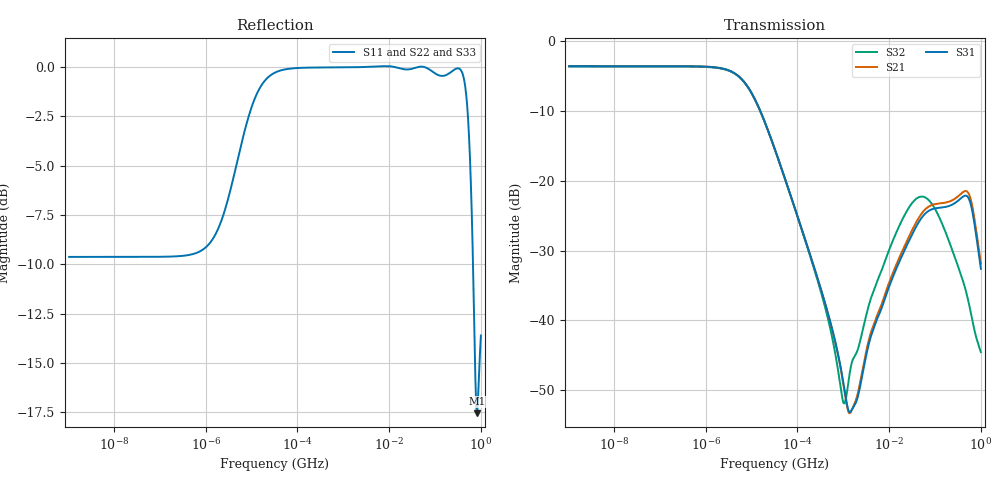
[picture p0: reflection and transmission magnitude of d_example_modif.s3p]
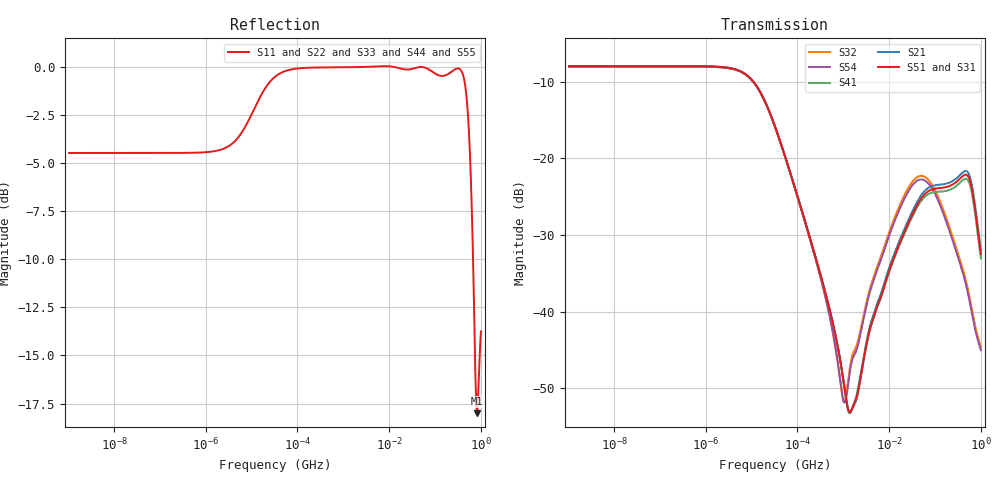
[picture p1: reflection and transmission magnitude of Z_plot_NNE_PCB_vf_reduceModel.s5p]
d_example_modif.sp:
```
*** LIN ***
.ac POI 451
+            0      1.04713      1.09648      1.14815      1.20226      1.25893      1.31826      1.38038      1.44544      1.51356 
+      1.58489      1.65959       1.7378       1.8197      1.90546      1.99526       2.0893      2.18776      2.29087      2.39883 
+      2.51189      2.63027      2.75423      2.88403      3.01995      3.16228      3.31131      3.46737      3.63078      3.80189 
+      3.98107      4.16869      4.36516      4.57088       4.7863      5.01187      5.24807      5.49541       5.7544       6.0256 
+      6.30957      6.60693      6.91831      7.24436      7.58578      7.94328      8.31764      8.70964      9.12011      9.54993 
+           10      10.4713      10.9648      11.4815      12.0226      12.5893      13.1826      13.8038      14.4544      15.1356 
+      15.8489      16.5959       17.378       18.197      19.0546      19.9526       20.893      21.8776      22.9087      23.9883 
+      25.1189      26.3027      27.5423      28.8403      30.1995      31.6228      33.1131      34.6737      36.3078      38.0189 
+      39.8107      41.6869      43.6516      45.7088       47.863      50.1187      52.4807      54.9541       57.544       60.256 
+      63.0957      66.0693      69.1831      72.4436      75.8578      79.4328      83.1764      87.0964      91.2011      95.4993 
+          100      104.713      109.648      114.815      120.226      125.893      131.826      138.038      144.544      151.356 
+      158.489      165.959       173.78       181.97      190.546      199.526       208.93      218.776      229.087      239.883 
+      251.189      263.027      275.423      288.403      301.995      316.228      331.131      346.737      363.078      380.189 
+      398.107      416.869      436.516      457.088       478.63      501.187      524.807      549.541       575.44       602.56 
+      630.957      660.693      691.831      724.436      758.578      794.328      831.764      870.964      912.011      954.993 
+         1000      1047.13      1096.48      1148.15      1202.26      1258.93      1318.26      1380.38      1445.44      1513.56 
+      1584.89      1659.59       1737.8       1819.7      1905.46      1995.26       2089.3      2187.76      2290.87      2398.83 
+      2511.89      2630.27      2754.23      2884.03      3019.95      3162.28      3311.31      3467.37      3630.78      3801.89 
+      3981.07      4168.69      4365.16      4570.88       4786.3      5011.87      5248.07      5495.41       5754.4       6025.6 
+      6309.57      6606.93      6918.31      7244.36      7585.78      7943.28      8317.64      8709.64      9120.11      9549.93 
+        10000      10471.3      10964.8      11481.5      12022.6      12589.3      13182.6      13803.8      14454.4      15135.6 
+      15848.9      16595.9        17378        18197      19054.6      19952.6        20893      21877.6      22908.7      23988.3 
+      25118.9      26302.7      27542.3      28840.3      30199.5      31622.8      33113.1      34673.7      36307.8      38018.9 
+      39810.7      41686.9      43651.6      45708.8        47863      50118.7      52480.7      54954.1        57544        60256 
+      63095.7      66069.3      69183.1      72443.6      75857.8      79432.8      83176.4      87096.4      91201.1      95499.3 
+       100000       104713       109648       114815       120226       125893       131826       138038       144544       151356 
+       158489       165959       173780       181970       190546       199526       208930       218776       229087       239883 
+       251189       263027       275423       288403       301995       316228       331131       346737       363078       380189 
+       398107       416869       436516       457088       478630       501187       524807       549541       575440       602560 
+       630957       660693       691831       724436       758578       794328       831764       870964       912011       954993 
+        1e+06  1.04713e+06  1.09648e+06  1.14815e+06  1.20226e+06  1.25893e+06  1.31826e+06  1.38038e+06  1.44544e+06  1.51356e+06 
+  1.58489e+06  1.65959e+06   1.7378e+06   1.8197e+06  1.90546e+06  1.99526e+06   2.0893e+06  2.18776e+06  2.29087e+06  2.39883e+06 
+  2.51189e+06  2.63027e+06  2.75423e+06  2.88403e+06  3.01995e+06  3.16228e+06  3.31131e+06  3.46737e+06  3.63078e+06  3.80189e+06 
+  3.98107e+06  4.16869e+06  4.36516e+06  4.57088e+06   4.7863e+06  5.01187e+06  5.24807e+06  5.49541e+06   5.7544e+06   6.0256e+06 
+  6.30957e+06  6.60693e+06  6.91831e+06  7.24436e+06  7.58578e+06  7.94328e+06  8.31764e+06  8.70964e+06  9.12011e+06  9.54993e+06 
+        1e+07  1.04713e+07  1.09648e+07  1.14815e+07  1.20226e+07  1.25893e+07  1.31826e+07  1.38038e+07  1.44544e+07  1.51356e+07 
+  1.58489e+07  1.65959e+07   1.7378e+07   1.8197e+07  1.90546e+07  1.99526e+07   2.0893e+07  2.18776e+07  2.29087e+07  2.39883e+07 
+  2.51189e+07  2.63027e+07  2.75423e+07  2.88403e+07  3.01995e+07  3.16228e+07  3.31131e+07  3.46737e+07  3.63078e+07  3.80189e+07 
+  3.98107e+07  4.16869e+07  4.36516e+07  4.57088e+07   4.7863e+07  5.01187e+07  5.24807e+07  5.49541e+07   5.7544e+07   6.0256e+07 
+  6.30957e+07  6.60693e+07  6.91831e+07  7.24436e+07  7.58578e+07  7.94328e+07  8.31764e+07  8.70964e+07  9.12011e+07  9.54993e+07 
+        1e+08  1.04713e+08  1.09648e+08  1.14815e+08  1.20226e+08  1.25893e+08  1.31826e+08  1.38038e+08  1.44544e+08  1.51356e+08 
+  1.58489e+08  1.65959e+08   1.7378e+08   1.8197e+08  1.90546e+08  1.99526e+08   2.0893e+08  2.18776e+08  2.29087e+08  2.39883e+08 
+  2.51189e+08  2.63027e+08  2.75423e+08  2.88403e+08  3.01995e+08  3.16228e+08  3.31131e+08  3.46737e+08  3.63078e+08  3.80189e+08 
+  3.98107e+08  4.16869e+08  4.36516e+08  4.57088e+08   4.7863e+08  5.01187e+08  5.24807e+08  5.49541e+08   5.7544e+08   6.0256e+08 
+  6.30957e+08  6.60693e+08  6.91831e+08  7.24436e+08  7.58578e+08  7.94328e+08  8.31764e+08  8.70964e+08  9.12011e+08  9.54993e+08 
+        1e+09 
.lin format=touchstone
+ PORTS=P1 P2 P3  
.option lis_new=1 post probe 

.model s_model S
+ TSTONEFILE = 'Z_plot_NNE_PCB_vf_reduceModel.s5p'

S1
+   n1   n2   n3   n4   n5
+ mname = s_model

P1   n1 0   port=1   z0=0.1
P2   n2 0   port=2   z0=0.1
P3   n3 0   port=3   z0=0.1
XCP4   n4 0  GCM155D70E106ME36_DC0V_125degC $port=4   z0=0.1
XCP5   n5 0  GCM155D70E106ME36_DC0V_125degC $port=5   z0=0.1

.inc GCM155D70E106ME36_DC0V_125degC_0402_10uF.mod

.end
```
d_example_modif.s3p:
! NPort=3 DATA=451 NOISE=0 GROUPDELAY=0 COMPLEX_DATAFORMAT=POLAR
! NumOfBlock=1 NumOfParam=0
! .MODEL Smodel S TSTONEFILE=example_modif/d_example_modif.s3p TYPE=S
!  -- The above .MODEL line can be used for the S element in the netlist.
# Hz S MA R  0.1
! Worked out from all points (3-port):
!   450 points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, 1.047 Hz to 1 GHz, reference 0.1 ohm
!   strongest paths, dB at 1.047 Hz, 182 Hz, 33.11 kHz, 5.754 MHz, 1 GHz:
!     S31: -3.5, -3.5, -15.7, -39.4, -32.6
!     S21: -3.5, -3.5, -15.7, -38.9, -31.8
!     S32: -3.6, -3.6, -15.7, -34.0, -44.5
!   lowest |S11| = -17.5 dB at 831.8 MHz (marker M1), VSWR 1.31, Z = 0.0924 - j0.0246 ohm
!   |S11| at or under -10 dB: 673.4 MHz to end of sweep
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1.04713  0.3304 -180.0  0.6652 -0.0  0.6652 -0.0
         0.6652 -0.0  0.3268 -180.0  0.6616 -0.0
         0.6652 -0.0  0.6616 -0.0  0.3268 -180.0
6918.31  0.6835 -151.5  0.5119 -39.2  0.5119 -39.2
         0.5119 -39.2  0.6754 -151.6  0.5091 -39.2
         0.5119 -39.2  0.5091 -39.2  0.6755 -151.6
1380380  0.9987 -179.9  0.002158 -15.0  0.002195 -19.0
         0.002158 -15.0  0.984 176.8  0.0042 32.2
         0.002195 -19.0  0.0042 32.2  0.9842 176.8
8.31764e8  0.1326 -99.9  0.03931 -106.2  0.03616 -105.9
           0.03931 -106.2  0.9928 7.4  0.007162 -95.9
           0.03616 -105.9  0.007162 -95.9  0.9932 7.6
1e9  0.2089 -164.0  0.02556 -112.5  0.02346 -111.9
     0.02556 -112.5  0.9934 6.2  0.005932 -94.1
     0.02346 -111.9  0.005932 -94.1  0.9937 6.3
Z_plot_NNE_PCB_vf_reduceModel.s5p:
! Created Tue Feb 13 11:45:42 2024
# hz S ma R 0.1
! Modal data exported
! Port[1] = pkg_bga
! Port[2] = pcbCap_C701
! Port[3] = pcbCap_C702
! Port[4] = pcbCap_C703
! Port[5] = pcbCap_C704
! 5 Port Network Data from SP1.SP block
! freq  magS11  angS11  magS12  angS12  magS13  angS13  magS14  angS14
!  magS15  angS15
!  magS21  angS21  magS22  angS22  magS23  angS23
!  magS24  angS24  magS25  angS25
!  magS31  angS31  magS32  angS32
!  magS33  angS33  magS34  angS34  magS35  angS35
!  magS41  angS41
!  magS42  angS42  magS43  angS43  magS44  angS44  magS45  angS45
!  magS51  angS51  magS52  angS52  magS53  angS53  magS54  angS54
!  magS55  angS55
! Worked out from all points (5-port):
!   450 points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, 1.047 Hz to 1 GHz, reference 0.1 ohm
!   strongest paths, dB at 1.047 Hz, 182 Hz, 33.11 kHz, 5.754 MHz, 1 GHz:
!     S51: -8.0, -8.0, -16.0, -38.9, -32.5
!     S21: -8.0, -8.0, -16.0, -38.6, -31.9
!     S41: -8.0, -8.0, -16.0, -39.1, -33.0
!     S31: -8.0, -8.0, -16.0, -39.0, -32.8
!     S54: -8.0, -8.0, -16.0, -34.2, -45.0
!     S32: -8.0, -8.0, -16.0, -33.8, -44.6
!   lowest |S11| = -18.0 dB at 831.8 MHz (marker M1), VSWR 1.29, Z = 0.0935 - j0.0236 ohm
!   |S11| at or under -10 dB: 674.4 MHz to end of sweep
